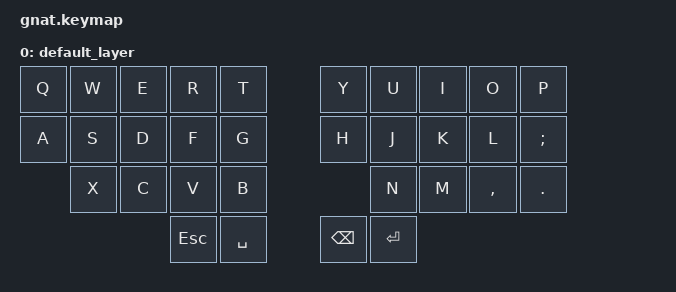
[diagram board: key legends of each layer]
/*
 * Copyright (c) 2020 The ZMK Contributors
 *
 * SPDX-License-Identifier: MIT
 */

#include <behaviors.dtsi>
#include <dt-bindings/zmk/keys.h>
#include <dt-bindings/zmk/bt.h>


&mt {
    // flavor = "tap-preferred";
    // tapping_term_ms = <200>;
};

/ {
    keymap {
        compatible = "zmk,keymap";
                
        default_layer {
            bindings = <
                &kp Q &kp W &kp E &kp R &kp T          &kp Y &kp U &kp I &kp O &kp P
                &kp A &kp S &kp D &kp F &kp G          &kp H &kp J &kp K &kp L &kp SEMI
                      &kp X &kp C &kp V &kp B          &kp N &kp M &kp COMMA &kp DOT
                                  &kp ESC &kp SPACE    &kp BSPC &kp RET
            >;
        };
    };
};
